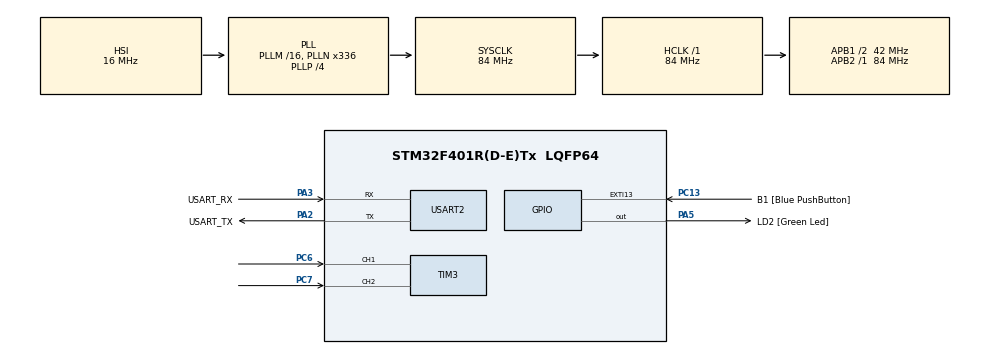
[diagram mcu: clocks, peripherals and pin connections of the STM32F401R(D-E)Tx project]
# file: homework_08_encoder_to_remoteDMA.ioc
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Dma.Request0=USART2_TX
Dma.USART2_TX.0.Direction=DMA_MEMORY_TO_PERIPH
Dma.USART2_TX.0.FIFOMode=DMA_FIFOMODE_DISABLE
Dma.USART2_TX.0.Instance=DMA1_Stream6
Dma.USART2_TX.0.MemDataAlignment=DMA_MDATAALIGN_BYTE
Dma.USART2_TX.0.MemInc=DMA_MINC_ENABLE
Dma.USART2_TX.0.Mode=DMA_NORMAL
Dma.USART2_TX.0.PeriphDataAlignment=DMA_PDATAALIGN_BYTE
Dma.USART2_TX.0.PeriphInc=DMA_PINC_DISABLE
Dma.USART2_TX.0.Priority=DMA_PRIORITY_HIGH
Mcu.Family=STM32F4
Mcu.Name=STM32F401R(D-E)Tx
Mcu.Package=LQFP64
NVIC.DMA1_Stream6_IRQn=true\:0\:0\:false\:false\:true\:false\:true\:true
NVIC.PriorityGroup=NVIC_PRIORITYGROUP_0
NVIC.TIM1_UP_TIM10_IRQn=true\:0\:0\:false\:false\:true\:true\:true\:true
NVIC.USART2_IRQn=true\:0\:0\:false\:false\:true\:true\:true\:true
PA13.GPIO_Label=TMS
PA13.Mode=Serial_Wire
PA13.Signal=SYS_JTMS-SWDIO
PA14.GPIO_Label=TCK
PA14.Mode=Serial_Wire
PA14.Signal=SYS_JTCK-SWCLK
PA2.GPIO_Label=USART_TX
PA2.GPIO_Mode=GPIO_MODE_AF_PP
PA2.GPIO_PuPd=GPIO_NOPULL
PA2.GPIO_Speed=GPIO_SPEED_FREQ_LOW
PA2.Mode=Asynchronous
PA2.Signal=USART2_TX
PA3.GPIO_Label=USART_RX
PA3.GPIO_Mode=GPIO_MODE_AF_PP
PA3.GPIO_PuPd=GPIO_NOPULL
PA3.GPIO_Speed=GPIO_SPEED_FREQ_LOW
PA3.Mode=Asynchronous
PA3.Signal=USART2_RX
PA5.GPIO_Label=LD2 [Green Led]
PA5.GPIO_Mode=GPIO_MODE_OUTPUT_PP
PA5.GPIO_PuPd=GPIO_NOPULL
PA5.GPIO_Speed=GPIO_SPEED_FREQ_LOW
PA5.Signal=GPIO_Output
PB3.GPIO_Label=SWO
PB3.Signal=SYS_JTDO-SWO
PC13-ANTI_TAMP.GPIO_Label=B1 [Blue PushButton]
PC13-ANTI_TAMP.GPIO_ModeDefaultEXTI=GPIO_MODE_IT_FALLING
PC13-ANTI_TAMP.GPIO_PuPd=GPIO_NOPULL
PC13-ANTI_TAMP.Signal=GPXTI13
PC14-OSC32_IN.Mode=LSE-External-Oscillator
PC14-OSC32_IN.Signal=RCC_OSC32_IN
PC15-OSC32_OUT.Mode=LSE-External-Oscillator
PC15-OSC32_OUT.Signal=RCC_OSC32_OUT
PC6.Signal=S_TIM3_CH1
PC7.Signal=S_TIM3_CH2
PH0\ -\ OSC_IN.Mode=HSE-External-Clock-Source
PH0\ -\ OSC_IN.Signal=RCC_OSC_IN
PH1\ -\ OSC_OUT.Mode=HSE-External-Clock-Source
PH1\ -\ OSC_OUT.Signal=RCC_OSC_OUT
ProjectManager.HeapSize=0x200
ProjectManager.StackSize=0x400
ProjectManager.TargetToolchain=STM32CubeIDE
RCC.48MHZClocksFreq_Value=48000000
RCC.AHBFreq_Value=84000000
RCC.APB1CLKDivider=RCC_HCLK_DIV2
RCC.APB1Freq_Value=42000000
RCC.APB1TimFreq_Value=84000000
RCC.APB2Freq_Value=84000000
RCC.APB2TimFreq_Value=84000000
RCC.CortexFreq_Value=84000000
RCC.HCLKFreq_Value=84000000
RCC.HSE_VALUE=8000000
RCC.HSI_VALUE=16000000
RCC.PLLN=336
RCC.PLLP=RCC_PLLP_DIV4
RCC.PLLQ=7
RCC.SYSCLKFreq_VALUE=84000000
RCC.SYSCLKSource=RCC_SYSCLKSOURCE_PLLCLK
RCC.VCOOutputFreq_Value=336000000
SH.S_TIM3_CH1.0=TIM3_CH1,Encoder_Interface
SH.S_TIM3_CH2.0=TIM3_CH2,Encoder_Interface
TIM10.Period=10000-1
TIM10.Prescaler=8400-1
TIM3.ClockDivision=TIM_CLOCKDIVISION_DIV4
TIM3.IC1Filter=15
TIM3.IC1Polarity=TIM_ICPOLARITY_FALLING
TIM3.IC2Filter=15
USART2.VirtualMode=VM_ASYNC
VP_TIM10_VS_ClockSourceINT.Mode=Enable_Timer
board=NUCLEO-F401RE

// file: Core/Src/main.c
/* USER CODE BEGIN Header */
/**
  ******************************************************************************
  * @file           : main.c
  * @brief          : Main program body
  ******************************************************************************
  * @attention
  *
  * Copyright (c) 2023 STMicroelectronics.
  * All rights reserved.
  *
  * This software is licensed under terms that can be found in the LICENSE file
  * in the root directory of this software component.
  * If no LICENSE file comes with this software, it is provided AS-IS.
  *
  ******************************************************************************
  */
/* USER CODE END Header */
#include "main.h"

TIM_HandleTypeDef htim3;
TIM_HandleTypeDef htim10;

UART_HandleTypeDef huart2;
DMA_HandleTypeDef hdma_usart2_tx;

/* USER CODE BEGIN PV */
volatile int compute_encoder = 0;

volatile char message[32];
volatile int len = 0;

volatile int old = 0;
volatile int delta = 0;
volatile int new = 0;
volatile float rpm = 0.0;
/* USER CODE END PV */

void SystemClock_Config(void);
static void MX_GPIO_Init(void);
static void MX_DMA_Init(void);
static void MX_USART2_UART_Init(void);
static void MX_TIM3_Init(void);
static void MX_TIM10_Init(void);
/* USER CODE BEGIN PFP */
void HAL_TIM_PeriodElapsedCallback(TIM_HandleTypeDef *htim);
/* USER CODE END PFP */

int main(void)
{

  /* MCU Configuration--------------------------------------------------------*/

  /* Reset of all peripherals, Initializes the Flash interface and the Systick. */
  HAL_Init();

  /* Configure the system clock */
  SystemClock_Config();

  /* Initialize all configured peripherals */
  MX_GPIO_Init();
  MX_DMA_Init();
  MX_USART2_UART_Init();
  MX_TIM3_Init();
  MX_TIM10_Init();
  /* USER CODE BEGIN 2 */
  HAL_TIM_Encoder_Start(&htim3, TIM_CHANNEL_ALL);
  HAL_TIM_Base_Start_IT(&htim10);

  /* USER CODE END 2 */

  /* Infinite loop */
  /* USER CODE BEGIN WHILE */
  while (1)
  {
	if(compute_encoder) {
		compute_encoder = 0;

		new =  __HAL_TIM_GET_COUNTER(&htim3);
		delta = new - old;

		// manage overflow
		if(delta > 65000) {
			// if delta > 65000 it means that new reached 65535 and it should start from 0 again
			delta = new - 65535 + old;
		} else if(delta < -65000) {
			// if delta < -65000 it means that new reached -65535 and it should start from 0 again
			delta = new + 65535 + old;
     	}

		rpm = delta / 24.0;
		rpm *= 60;

		len = snprintf(message, 32, "RPM: %.3f | %d | %d \r\n", rpm, old, new);
		HAL_UART_Transmit_DMA(&huart2, message, len);
		old = new;
	}

    /* USER CODE END WHILE */

  }
}

void SystemClock_Config(void)
{
  RCC_OscInitTypeDef RCC_OscInitStruct = {0};
  RCC_ClkInitTypeDef RCC_ClkInitStruct = {0};

  /** Configure the main internal regulator output voltage
  */
  __HAL_RCC_PWR_CLK_ENABLE();
  __HAL_PWR_VOLTAGESCALING_CONFIG(PWR_REGULATOR_VOLTAGE_SCALE2);

  /** Initializes the RCC Oscillators according to the specified parameters
  * in the RCC_OscInitTypeDef structure.
  */
  RCC_OscInitStruct.OscillatorType = RCC_OSCILLATORTYPE_HSI;
  RCC_OscInitStruct.HSIState = RCC_HSI_ON;
  RCC_OscInitStruct.HSICalibrationValue = RCC_HSICALIBRATION_DEFAULT;
  RCC_OscInitStruct.PLL.PLLState = RCC_PLL_ON;
  RCC_OscInitStruct.PLL.PLLSource = RCC_PLLSOURCE_HSI;
  RCC_OscInitStruct.PLL.PLLM = 16;
  RCC_OscInitStruct.PLL.PLLN = 336;
  RCC_OscInitStruct.PLL.PLLP = RCC_PLLP_DIV4;
  RCC_OscInitStruct.PLL.PLLQ = 7;
  if (HAL_RCC_OscConfig(&RCC_OscInitStruct) != HAL_OK)
  {
    Error_Handler();
  }

  /** Initializes the CPU, AHB and APB buses clocks
  */
  RCC_ClkInitStruct.ClockType = RCC_CLOCKTYPE_HCLK|RCC_CLOCKTYPE_SYSCLK
                              |RCC_CLOCKTYPE_PCLK1|RCC_CLOCKTYPE_PCLK2;
  RCC_ClkInitStruct.SYSCLKSource = RCC_SYSCLKSOURCE_PLLCLK;
  RCC_ClkInitStruct.AHBCLKDivider = RCC_SYSCLK_DIV1;
  RCC_ClkInitStruct.APB1CLKDivider = RCC_HCLK_DIV2;
  RCC_ClkInitStruct.APB2CLKDivider = RCC_HCLK_DIV1;

  if (HAL_RCC_ClockConfig(&RCC_ClkInitStruct, FLASH_LATENCY_2) != HAL_OK)
  {
    Error_Handler();
  }
}

static void MX_TIM3_Init(void)
{

  TIM_Encoder_InitTypeDef sConfig = {0};
  TIM_MasterConfigTypeDef sMasterConfig = {0};

  htim3.Instance = TIM3;
  htim3.Init.Prescaler = 0;
  htim3.Init.CounterMode = TIM_COUNTERMODE_UP;
  htim3.Init.Period = 65535;
  htim3.Init.ClockDivision = TIM_CLOCKDIVISION_DIV4;
  htim3.Init.AutoReloadPreload = TIM_AUTORELOAD_PRELOAD_DISABLE;
  sConfig.EncoderMode = TIM_ENCODERMODE_TI1;
  sConfig.IC1Polarity = TIM_ICPOLARITY_FALLING;
  sConfig.IC1Selection = TIM_ICSELECTION_DIRECTTI;
  sConfig.IC1Prescaler = TIM_ICPSC_DIV1;
  sConfig.IC1Filter = 15;
  sConfig.IC2Polarity = TIM_ICPOLARITY_RISING;
  sConfig.IC2Selection = TIM_ICSELECTION_DIRECTTI;
  sConfig.IC2Prescaler = TIM_ICPSC_DIV1;
  sConfig.IC2Filter = 15;
  if (HAL_TIM_Encoder_Init(&htim3, &sConfig) != HAL_OK)
  {
    Error_Handler();
  }
  sMasterConfig.MasterOutputTrigger = TIM_TRGO_RESET;
  sMasterConfig.MasterSlaveMode = TIM_MASTERSLAVEMODE_DISABLE;
  if (HAL_TIMEx_MasterConfigSynchronization(&htim3, &sMasterConfig) != HAL_OK)
  {
    Error_Handler();
  }

}

static void MX_TIM10_Init(void)
{

  htim10.Instance = TIM10;
  htim10.Init.Prescaler = 8400-1;
  htim10.Init.CounterMode = TIM_COUNTERMODE_UP;
  htim10.Init.Period = 10000-1;
  htim10.Init.ClockDivision = TIM_CLOCKDIVISION_DIV1;
  htim10.Init.AutoReloadPreload = TIM_AUTORELOAD_PRELOAD_DISABLE;
  if (HAL_TIM_Base_Init(&htim10) != HAL_OK)
  {
    Error_Handler();
  }

}

static void MX_USART2_UART_Init(void)
{

  huart2.Instance = USART2;
  huart2.Init.BaudRate = 115200;
  huart2.Init.WordLength = UART_WORDLENGTH_8B;
  huart2.Init.StopBits = UART_STOPBITS_1;
  huart2.Init.Parity = UART_PARITY_NONE;
  huart2.Init.Mode = UART_MODE_TX_RX;
  huart2.Init.HwFlowCtl = UART_HWCONTROL_NONE;
  huart2.Init.OverSampling = UART_OVERSAMPLING_16;
  if (HAL_UART_Init(&huart2) != HAL_OK)
  {
    Error_Handler();
  }

}

static void MX_DMA_Init(void)
{

  /* DMA controller clock enable */
  __HAL_RCC_DMA1_CLK_ENABLE();

  /* DMA interrupt init */
  /* DMA1_Stream6_IRQn interrupt configuration */
  HAL_NVIC_SetPriority(DMA1_Stream6_IRQn, 0, 0);
  HAL_NVIC_EnableIRQ(DMA1_Stream6_IRQn);

}

static void MX_GPIO_Init(void)
{
  GPIO_InitTypeDef GPIO_InitStruct = {0};

  /* GPIO Ports Clock Enable */
  __HAL_RCC_GPIOC_CLK_ENABLE();
  __HAL_RCC_GPIOH_CLK_ENABLE();
  __HAL_RCC_GPIOA_CLK_ENABLE();
  __HAL_RCC_GPIOB_CLK_ENABLE();

  /*Configure GPIO pin Output Level */
  HAL_GPIO_WritePin(LD2_GPIO_Port, LD2_Pin, GPIO_PIN_RESET);

  /*Configure GPIO pin : B1_Pin */
  GPIO_InitStruct.Pin = B1_Pin;
  GPIO_InitStruct.Mode = GPIO_MODE_IT_FALLING;
  GPIO_InitStruct.Pull = GPIO_NOPULL;
  HAL_GPIO_Init(B1_GPIO_Port, &GPIO_InitStruct);

  /*Configure GPIO pin : LD2_Pin */
  GPIO_InitStruct.Pin = LD2_Pin;
  GPIO_InitStruct.Mode = GPIO_MODE_OUTPUT_PP;
  GPIO_InitStruct.Pull = GPIO_NOPULL;
  GPIO_InitStruct.Speed = GPIO_SPEED_FREQ_LOW;
  HAL_GPIO_Init(LD2_GPIO_Port, &GPIO_InitStruct);

}

/* USER CODE BEGIN 4 */
void HAL_TIM_PeriodElapsedCallback(TIM_HandleTypeDef *htim){
	if(htim != &htim10) return;

	compute_encoder = 1;
}
/* USER CODE END 4 */

void Error_Handler(void)
{
  __disable_irq();
  while (1)
  {
  }
}
